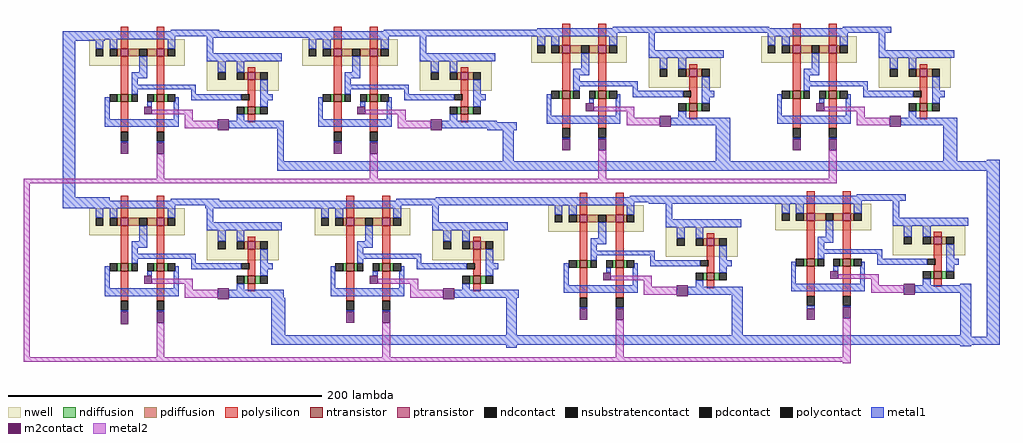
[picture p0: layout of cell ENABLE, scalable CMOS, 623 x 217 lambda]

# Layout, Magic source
magic
tech scmos
<< nwell >>
rect 0 50 61 67
rect 75 34 121 53
rect 136 50 197 67
rect 211 34 257 53
rect 282 52 343 69
rect 357 36 403 55
rect 429 52 490 69
rect 504 36 550 55
rect 0 -58 61 -41
rect 75 -74 121 -55
rect 144 -58 205 -41
rect 219 -74 265 -55
rect 293 -56 354 -39
rect 368 -72 414 -53
rect 438 -55 499 -38
rect 513 -71 559 -52
<< ntransistor >>
rect 20 27 25 32
rect 43 27 48 32
rect 156 27 161 32
rect 179 27 184 32
rect 302 29 307 34
rect 325 29 330 34
rect 101 19 106 24
rect 237 19 242 24
rect 449 29 454 34
rect 472 29 477 34
rect 383 21 388 26
rect 530 21 535 26
rect 20 -81 25 -76
rect 43 -81 48 -76
rect 164 -81 169 -76
rect 187 -81 192 -76
rect 313 -79 318 -74
rect 336 -79 341 -74
rect 458 -78 463 -73
rect 481 -78 486 -73
rect 101 -89 106 -84
rect 245 -89 250 -84
rect 394 -87 399 -82
rect 539 -86 544 -81
<< ptransistor >>
rect 20 56 25 61
rect 43 56 48 61
rect 156 56 161 61
rect 179 56 184 61
rect 302 58 307 63
rect 325 58 330 63
rect 449 58 454 63
rect 472 58 477 63
rect 101 41 106 46
rect 237 41 242 46
rect 383 43 388 48
rect 530 43 535 48
rect 20 -52 25 -47
rect 43 -52 48 -47
rect 164 -52 169 -47
rect 187 -52 192 -47
rect 313 -50 318 -45
rect 336 -50 341 -45
rect 458 -49 463 -44
rect 481 -49 486 -44
rect 101 -67 106 -62
rect 245 -67 250 -62
rect 394 -65 399 -60
rect 539 -64 544 -59
<< ndiffusion >>
rect 18 27 20 32
rect 25 27 27 32
rect 41 27 43 32
rect 48 27 50 32
rect 154 27 156 32
rect 161 27 163 32
rect 177 27 179 32
rect 184 27 186 32
rect 300 29 302 34
rect 307 29 309 34
rect 323 29 325 34
rect 330 29 332 34
rect 99 19 101 24
rect 106 19 109 24
rect 235 19 237 24
rect 242 19 245 24
rect 447 29 449 34
rect 454 29 456 34
rect 470 29 472 34
rect 477 29 479 34
rect 381 21 383 26
rect 388 21 391 26
rect 528 21 530 26
rect 535 21 538 26
rect 18 -81 20 -76
rect 25 -81 27 -76
rect 41 -81 43 -76
rect 48 -81 50 -76
rect 162 -81 164 -76
rect 169 -81 171 -76
rect 185 -81 187 -76
rect 192 -81 194 -76
rect 311 -79 313 -74
rect 318 -79 320 -74
rect 334 -79 336 -74
rect 341 -79 343 -74
rect 456 -78 458 -73
rect 463 -78 465 -73
rect 479 -78 481 -73
rect 486 -78 488 -73
rect 99 -89 101 -84
rect 106 -89 109 -84
rect 243 -89 245 -84
rect 250 -89 253 -84
rect 392 -87 394 -82
rect 399 -87 402 -82
rect 537 -86 539 -81
rect 544 -86 547 -81
<< pdiffusion >>
rect 18 56 20 61
rect 25 56 32 61
rect 37 56 43 61
rect 48 56 50 61
rect 154 56 156 61
rect 161 56 168 61
rect 173 56 179 61
rect 184 56 186 61
rect 300 58 302 63
rect 307 58 314 63
rect 319 58 325 63
rect 330 58 332 63
rect 447 58 449 63
rect 454 58 461 63
rect 466 58 472 63
rect 477 58 479 63
rect 99 41 101 46
rect 106 41 109 46
rect 235 41 237 46
rect 242 41 245 46
rect 381 43 383 48
rect 388 43 391 48
rect 528 43 530 48
rect 535 43 538 48
rect 18 -52 20 -47
rect 25 -52 32 -47
rect 37 -52 43 -47
rect 48 -52 50 -47
rect 162 -52 164 -47
rect 169 -52 176 -47
rect 181 -52 187 -47
rect 192 -52 194 -47
rect 311 -50 313 -45
rect 318 -50 325 -45
rect 330 -50 336 -45
rect 341 -50 343 -45
rect 456 -49 458 -44
rect 463 -49 470 -44
rect 475 -49 481 -44
rect 486 -49 488 -44
rect 99 -67 101 -62
rect 106 -67 109 -62
rect 243 -67 245 -62
rect 250 -67 253 -62
rect 392 -65 394 -60
rect 399 -65 402 -60
rect 537 -64 539 -59
rect 544 -64 547 -59
<< ndcontact >>
rect 13 27 18 32
rect 27 27 31 32
rect 37 27 41 32
rect 50 27 55 32
rect 149 27 154 32
rect 163 27 167 32
rect 173 27 177 32
rect 186 27 191 32
rect 295 29 300 34
rect 309 29 313 34
rect 319 29 323 34
rect 332 29 337 34
rect 94 19 99 24
rect 109 19 114 24
rect 230 19 235 24
rect 245 19 250 24
rect 442 29 447 34
rect 456 29 460 34
rect 466 29 470 34
rect 479 29 484 34
rect 376 21 381 26
rect 391 21 396 26
rect 523 21 528 26
rect 538 21 543 26
rect 13 -81 18 -76
rect 27 -81 31 -76
rect 37 -81 41 -76
rect 50 -81 55 -76
rect 157 -81 162 -76
rect 171 -81 175 -76
rect 181 -81 185 -76
rect 194 -81 199 -76
rect 306 -79 311 -74
rect 320 -79 324 -74
rect 330 -79 334 -74
rect 343 -79 348 -74
rect 451 -78 456 -73
rect 465 -78 469 -73
rect 475 -78 479 -73
rect 488 -78 493 -73
rect 94 -89 99 -84
rect 109 -89 114 -84
rect 238 -89 243 -84
rect 253 -89 258 -84
rect 387 -87 392 -82
rect 402 -87 407 -82
rect 532 -86 537 -81
rect 547 -86 552 -81
<< pdcontact >>
rect 13 56 18 61
rect 32 56 37 61
rect 50 56 55 61
rect 149 56 154 61
rect 168 56 173 61
rect 186 56 191 61
rect 295 58 300 63
rect 314 58 319 63
rect 332 58 337 63
rect 442 58 447 63
rect 461 58 466 63
rect 479 58 484 63
rect 94 41 99 46
rect 109 41 114 46
rect 230 41 235 46
rect 245 41 250 46
rect 376 43 381 48
rect 391 43 396 48
rect 523 43 528 48
rect 538 43 543 48
rect 13 -52 18 -47
rect 32 -52 37 -47
rect 50 -52 55 -47
rect 157 -52 162 -47
rect 176 -52 181 -47
rect 194 -52 199 -47
rect 306 -50 311 -45
rect 325 -50 330 -45
rect 343 -50 348 -45
rect 451 -49 456 -44
rect 470 -49 475 -44
rect 488 -49 493 -44
rect 94 -67 99 -62
rect 109 -67 114 -62
rect 238 -67 243 -62
rect 253 -67 258 -62
rect 387 -65 392 -60
rect 402 -65 407 -60
rect 532 -64 537 -59
rect 547 -64 552 -59
<< nsubstratencontact >>
rect 4 56 9 61
rect 140 56 145 61
rect 286 58 291 63
rect 433 58 438 63
rect 82 41 87 46
rect 218 41 223 46
rect 364 43 369 48
rect 511 43 516 48
rect 4 -52 9 -47
rect 148 -52 153 -47
rect 297 -50 302 -45
rect 442 -49 447 -44
rect 82 -67 87 -62
rect 226 -67 231 -62
rect 375 -65 380 -60
rect 520 -64 525 -59
<< polysilicon >>
rect 20 61 25 75
rect 43 61 48 75
rect 156 61 161 75
rect 179 61 184 75
rect 302 63 307 77
rect 325 63 330 77
rect 449 63 454 77
rect 472 63 477 77
rect 20 32 25 56
rect 43 32 48 56
rect 101 46 106 49
rect 101 32 106 41
rect 156 32 161 56
rect 179 32 184 56
rect 237 46 242 49
rect 237 32 242 41
rect 302 34 307 58
rect 325 34 330 58
rect 383 48 388 51
rect 383 34 388 43
rect 449 34 454 58
rect 472 34 477 58
rect 530 48 535 51
rect 530 34 535 43
rect 102 28 106 32
rect 20 8 25 27
rect 43 8 48 27
rect 101 24 106 28
rect 238 28 242 32
rect 384 30 388 34
rect 101 14 106 19
rect 156 8 161 27
rect 179 8 184 27
rect 237 24 242 28
rect 237 14 242 19
rect 302 10 307 29
rect 325 10 330 29
rect 383 26 388 30
rect 531 30 535 34
rect 383 16 388 21
rect 449 10 454 29
rect 472 10 477 29
rect 530 26 535 30
rect 530 16 535 21
rect 20 -47 25 -33
rect 43 -47 48 -33
rect 164 -47 169 -33
rect 187 -47 192 -33
rect 313 -45 318 -31
rect 336 -45 341 -31
rect 458 -44 463 -30
rect 481 -44 486 -30
rect 20 -76 25 -52
rect 43 -76 48 -52
rect 101 -62 106 -59
rect 101 -76 106 -67
rect 164 -76 169 -52
rect 187 -76 192 -52
rect 245 -62 250 -59
rect 245 -76 250 -67
rect 313 -74 318 -50
rect 336 -74 341 -50
rect 394 -60 399 -57
rect 394 -74 399 -65
rect 458 -73 463 -49
rect 481 -73 486 -49
rect 539 -59 544 -56
rect 539 -73 544 -64
rect 102 -80 106 -76
rect 20 -100 25 -81
rect 43 -100 48 -81
rect 101 -84 106 -80
rect 246 -80 250 -76
rect 395 -78 399 -74
rect 540 -77 544 -73
rect 101 -94 106 -89
rect 164 -100 169 -81
rect 187 -100 192 -81
rect 245 -84 250 -80
rect 245 -94 250 -89
rect 313 -98 318 -79
rect 336 -98 341 -79
rect 394 -82 399 -78
rect 394 -92 399 -87
rect 458 -97 463 -78
rect 481 -97 486 -78
rect 539 -81 544 -77
rect 539 -91 544 -86
<< polycontact >>
rect 97 28 102 32
rect 20 2 25 8
rect 233 28 238 32
rect 379 30 384 34
rect 43 2 48 8
rect 156 2 161 8
rect 179 2 184 8
rect 302 4 307 10
rect 526 30 531 34
rect 325 4 330 10
rect 449 4 454 10
rect 472 4 477 10
rect 97 -80 102 -76
rect 20 -106 25 -100
rect 241 -80 246 -76
rect 390 -78 395 -74
rect 535 -77 540 -73
rect 43 -106 48 -100
rect 164 -106 169 -100
rect 187 -106 192 -100
rect 313 -104 318 -98
rect 336 -104 341 -98
rect 458 -103 463 -97
rect 481 -103 486 -97
<< metal1 >>
rect 334 74 434 75
rect 481 74 512 75
rect 286 73 512 74
rect 52 72 83 73
rect 188 72 512 73
rect -17 71 512 72
rect -17 69 337 71
rect -17 67 55 69
rect -17 66 10 67
rect -17 -34 -9 66
rect 4 61 9 66
rect 13 61 18 67
rect 50 61 55 67
rect 75 68 191 69
rect 75 58 79 68
rect 140 67 191 68
rect 140 61 145 67
rect 32 46 37 56
rect 75 53 123 58
rect 149 61 154 67
rect 186 61 191 67
rect 211 58 215 69
rect 286 63 291 69
rect 295 63 300 69
rect 332 63 337 69
rect 357 60 361 71
rect 433 69 484 71
rect 433 63 438 69
rect 27 42 37 46
rect 82 46 87 53
rect 27 38 31 42
rect 94 46 99 53
rect 168 46 173 56
rect 211 53 259 58
rect 27 35 68 38
rect 27 32 31 35
rect 65 32 68 35
rect 109 32 114 41
rect 163 42 173 46
rect 218 46 223 53
rect 163 38 167 42
rect 230 46 235 53
rect 314 48 319 58
rect 357 55 405 60
rect 442 63 447 69
rect 479 63 484 69
rect 504 60 508 71
rect 163 35 204 38
rect 163 32 167 35
rect 201 32 204 35
rect 245 32 250 41
rect 309 44 319 48
rect 364 48 369 55
rect 309 40 313 44
rect 376 48 381 55
rect 461 48 466 58
rect 504 55 552 60
rect 309 37 350 40
rect 309 34 313 37
rect 347 34 350 37
rect 391 34 396 43
rect 456 44 466 48
rect 511 48 516 55
rect 456 40 460 44
rect 523 48 528 55
rect 456 37 497 40
rect 456 34 460 37
rect 494 34 497 37
rect 538 34 543 43
rect 10 16 13 30
rect 55 27 57 30
rect 65 28 97 32
rect 109 28 117 32
rect 37 24 40 27
rect 54 16 57 27
rect 109 24 114 28
rect 10 11 57 16
rect 94 15 99 19
rect 146 16 149 30
rect 191 27 193 30
rect 201 28 233 32
rect 245 28 253 32
rect 173 24 176 27
rect 190 16 193 27
rect 245 24 250 28
rect 89 10 124 15
rect 146 11 193 16
rect 20 1 25 2
rect 43 1 48 2
rect 120 -11 124 10
rect 230 15 235 19
rect 292 18 295 32
rect 337 29 339 32
rect 347 30 379 34
rect 391 30 399 34
rect 319 26 322 29
rect 336 18 339 29
rect 391 26 396 30
rect 225 14 260 15
rect 225 10 273 14
rect 292 13 339 18
rect 376 17 381 21
rect 439 18 442 32
rect 484 29 486 32
rect 494 30 526 34
rect 538 30 546 34
rect 466 26 469 29
rect 483 18 486 29
rect 538 26 543 30
rect 371 12 409 17
rect 439 13 486 18
rect 254 9 273 10
rect 156 1 161 2
rect 179 1 184 2
rect 264 -11 271 9
rect 302 3 307 4
rect 325 3 330 4
rect 400 -11 409 12
rect 523 17 528 21
rect 518 12 554 17
rect 449 3 454 4
rect 472 3 477 4
rect 545 -11 554 12
rect 573 -11 581 -10
rect 120 -17 581 -11
rect 490 -33 521 -32
rect 345 -34 521 -33
rect -17 -36 13 -34
rect 221 -35 521 -34
rect 52 -36 83 -35
rect 196 -36 521 -35
rect -17 -37 493 -36
rect -17 -39 348 -37
rect 357 -38 493 -37
rect -17 -41 55 -39
rect 74 -41 199 -39
rect 4 -47 9 -41
rect 13 -47 18 -41
rect 50 -47 55 -41
rect 75 -50 79 -41
rect 148 -47 153 -41
rect 32 -62 37 -52
rect 75 -55 123 -50
rect 157 -47 162 -41
rect 194 -47 199 -41
rect 219 -50 223 -39
rect 297 -45 302 -39
rect 306 -45 311 -39
rect 343 -45 348 -39
rect 368 -48 372 -38
rect 442 -44 447 -38
rect 27 -66 37 -62
rect 82 -62 87 -55
rect 27 -70 31 -66
rect 94 -62 99 -55
rect 176 -62 181 -52
rect 219 -55 267 -50
rect 27 -73 68 -70
rect 27 -76 31 -73
rect 65 -76 68 -73
rect 109 -76 114 -67
rect 171 -66 181 -62
rect 226 -62 231 -55
rect 171 -70 175 -66
rect 238 -62 243 -55
rect 325 -60 330 -50
rect 368 -53 416 -48
rect 451 -44 456 -38
rect 488 -44 493 -38
rect 513 -47 517 -36
rect 171 -73 212 -70
rect 171 -76 175 -73
rect 209 -76 212 -73
rect 253 -76 258 -67
rect 320 -64 330 -60
rect 375 -60 380 -53
rect 320 -68 324 -64
rect 387 -60 392 -53
rect 470 -59 475 -49
rect 513 -52 561 -47
rect 320 -71 361 -68
rect 320 -74 324 -71
rect 358 -74 361 -71
rect 402 -74 407 -65
rect 465 -63 475 -59
rect 520 -59 525 -52
rect 465 -67 469 -63
rect 532 -59 537 -52
rect 465 -70 506 -67
rect 465 -73 469 -70
rect 503 -73 506 -70
rect 547 -73 552 -64
rect 10 -92 13 -78
rect 55 -81 57 -78
rect 65 -80 97 -76
rect 109 -80 117 -76
rect 37 -84 40 -81
rect 54 -92 57 -81
rect 109 -84 114 -80
rect 10 -97 57 -92
rect 94 -93 99 -89
rect 154 -92 157 -78
rect 199 -81 201 -78
rect 209 -80 241 -76
rect 253 -80 261 -76
rect 181 -84 184 -81
rect 198 -92 201 -81
rect 253 -84 258 -80
rect 89 -98 124 -93
rect 154 -97 201 -92
rect 20 -107 25 -106
rect 43 -107 48 -106
rect 116 -122 125 -98
rect 238 -93 243 -89
rect 303 -90 306 -76
rect 348 -79 350 -76
rect 358 -78 390 -74
rect 402 -78 410 -74
rect 330 -82 333 -79
rect 347 -90 350 -79
rect 402 -82 407 -78
rect 233 -98 274 -93
rect 303 -95 350 -90
rect 387 -91 392 -87
rect 448 -89 451 -75
rect 493 -78 495 -75
rect 503 -77 535 -73
rect 547 -77 555 -73
rect 475 -81 478 -78
rect 492 -89 495 -78
rect 547 -81 552 -77
rect 382 -96 417 -91
rect 448 -94 495 -89
rect 532 -90 537 -86
rect 556 -90 563 -89
rect 527 -95 563 -90
rect 164 -107 169 -106
rect 187 -107 192 -106
rect 266 -122 273 -98
rect 313 -105 318 -104
rect 336 -105 341 -104
rect 410 -122 417 -96
rect 458 -105 463 -103
rect 481 -104 486 -103
rect 556 -122 563 -95
rect 116 -123 563 -122
rect 573 -123 581 -17
rect 116 -128 581 -123
rect 266 -130 273 -128
rect 556 -129 563 -128
<< m2contact >>
rect 35 19 40 24
rect 82 9 89 16
rect 171 19 176 24
rect 20 -6 25 1
rect 43 -6 48 1
rect 218 9 225 16
rect 317 21 322 26
rect 364 11 371 18
rect 464 21 469 26
rect 156 -6 161 1
rect 179 -6 184 1
rect 302 -4 307 3
rect 325 -4 330 3
rect 511 11 518 18
rect 449 -4 454 3
rect 472 -4 477 3
rect 35 -89 40 -84
rect 82 -99 89 -92
rect 179 -89 184 -84
rect 20 -115 25 -107
rect 43 -114 48 -107
rect 226 -99 233 -92
rect 328 -87 333 -82
rect 375 -97 382 -90
rect 473 -86 478 -81
rect 520 -96 527 -89
rect 164 -114 169 -107
rect 187 -114 192 -107
rect 313 -112 318 -105
rect 336 -112 341 -105
rect 458 -112 463 -105
rect 481 -111 486 -104
<< metal2 >>
rect 40 19 66 22
rect 176 19 202 22
rect 322 21 348 24
rect 469 21 495 24
rect 61 15 66 19
rect 61 10 82 15
rect 197 15 202 19
rect 343 17 348 21
rect 197 10 218 15
rect 343 12 364 17
rect 490 17 495 21
rect 490 12 511 17
rect 43 -22 48 -6
rect 179 -22 184 -6
rect 325 -22 330 -4
rect 472 -22 477 -4
rect -42 -25 477 -22
rect -42 -136 -38 -25
rect 40 -89 66 -86
rect 184 -89 210 -86
rect 333 -87 359 -84
rect 478 -86 504 -83
rect 61 -93 66 -89
rect 61 -98 82 -93
rect 205 -93 210 -89
rect 354 -91 359 -87
rect 499 -90 504 -86
rect 205 -98 226 -93
rect 354 -96 375 -91
rect 499 -95 520 -90
rect 43 -136 48 -114
rect 187 -136 192 -114
rect 336 -136 341 -112
rect 481 -136 486 -111
rect -42 -139 486 -136
rect 481 -140 486 -139
<< end >>
